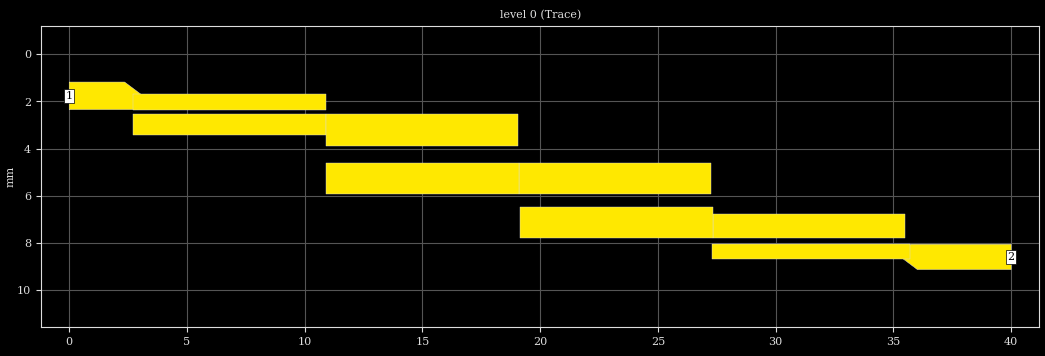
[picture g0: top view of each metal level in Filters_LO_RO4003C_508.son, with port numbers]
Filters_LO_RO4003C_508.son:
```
FTYP SONPROJ 19 ! Sonnet Project File
VER 18.53
HEADER
LIC SL64e88c52
DAT 08/28/2023 10:58:31
BUILT_BY_CREATED example 18.53 10/19/2021 01:59:07
BUILT_BY_SAVED sonnet 18.53-Lite
MDATE 08/27/2023 03:09:16
HDATE 08/27/2023 03:09:16
END HEADER
DIM
ANG DEG
CAP PF
CON /OH
FREQ GHZ
IND NH
LNG MM
RES OH
END DIM
CONTROL
VARSWP
OPTIONS  -dj
SPEED 0
CACHE_ABS 2
Q_ACC N
END CONTROL
GEO
TMET "Cover" 1 NOR 40900000 0.5 0.00254 
BMET "Cover" 1 NOR 40900000 0.5 0.00254 
MET "Gold_trace" 2 NOR 40900000 0.5 0.00254 
MET "Gold_Via" 1 VOL 40900000 0.00254
BOX 1 40 10.366 1600 406 20 0
      3.81 1 1 0 0 0 0 "Air"
      0.508 3.55 1 0.0029 0 0 0 "Rogers RO4003C"
TECHLAY METAL Trace <UNSPECIFIED> -2 -65534 
0 0 0 N 550 1 1 100 100 0 0 0 Y
END
END
TECHLAY VIA Via_Gnd <UNSPECIFIED> -3 -65534 
VIA POLYGON
1 0 1 N 555 1 1 100 100 0 0 0 Y
TOLEVEL 0 RING COVERS
END
END
VALVAR L1 LNG 8.3876712328767 "Dim. Param."
VALVAR L2 LNG "7.95*SCALE" "Dim. Param."
VALVAR W2 LNG 1.3265302315745 "Dim. Param."
VALVAR L1_1 NONE 8.1435045706955 ""
VALVAR SCALE NONE "7.5/7.3" ""
VALVAR L1_2 LNG 8.5435045706955 "Dim. Param. L1_2"
VALVAR W2_3 LNG 0.8707040678001 "Dim. Param. W2_3"
VALVAR W2_4 LNG 1.0139973043984 "Dim. Param. W2_4"
DIM STD YDIR -1
POS 0.8243394633 -1.723114553
NOM 0.661441928
REF1 POLY 433 1
2
REF2 POLY 433 1
1
END
DIM STD YDIR -1
POS 2.248703586 -1.825242212
NOM 0.620364742
REF1 POLY 539 1
2
REF2 POLY 539 1
1
END
DIM STD YDIR -1
POS 2.273710895 -1.054965402
NOM 0.7143295154
REF1 POLY 527 1
0
REF2 POLY 512 1
2
END
DIM STD YDIR -1
POS 1.654538812 -1.379817762
NOM 0.204038262
REF1 POLY 512 1
0
REF2 POLY 433 1
2
END
DIM STD XDIR 1
POS 8.039524846 3.32540924
NOM 16.33561644
REF1 POLY 528 1
3
REF2 POLY 527 1
2
END
LORGN 0 10.366 U 
POR1 BOX
POLY 15 1
3
1 50 0 0 0 0 1.760508198 
POR1 BOX
POLY 17 1
3
2 50 0 0 0 40 8.600456394 
NUM 10
0 7 0 N 15 1 1 100 100 0 0 0 Y
TLAYNAM Trace INH
3.21050739 1.99243004
3.21050739 1.816551101
2.354396701 1.174468085
0 1.174468085
0 2.346548311
2.738349697 2.346548311
3.21050739 1.99243004
END
0 7 0 N 17 1 1 100 100 0 0 0 Y
TLAYNAM Trace INH
35.21505355 8.536576562
35.21505355 8.434976562
35.71437262 8.060487255
40 8.060487255
40 9.140425532
36.0201855 9.140425532
35.21505355 8.536576562
END
0 5 0 N 433 1 1 100 100 0 0 0 Y
TLAYNAM Trace INH
2.7 1.685106383
10.89790127 1.685106383
10.89790127 2.346548311
2.7 2.346548311
2.7 1.685106383
END
0 5 0 N 442 1 1 100 100 0 0 0 Y
TLAYNAM Trace INH
2.724239011 2.550586573
10.89204723 2.550586573
10.89204723 3.421290641
2.724239011 3.421290641
2.724239011 2.550586573
END
0 5 0 N 512 1 1 100 100 0 0 0 Y
TLAYNAM Trace INH
10.89204723 2.550586573
19.05985545 2.550586573
19.05985545 3.877116805
10.89204723 3.877116805
10.89204723 2.550586573
END
0 5 0 N 527 1 1 100 100 0 0 0 Y
TLAYNAM Trace INH
19.08214094 4.59144632
27.24994916 4.59144632
27.24994916 5.917976552
19.08214094 5.917976552
19.08214094 4.59144632
END
0 5 0 N 528 1 1 100 100 0 0 0 Y
TLAYNAM Trace INH
10.91433272 4.59144632
19.08214094 4.59144632
19.08214094 5.917976552
10.91433272 5.917976552
10.91433272 4.59144632
END
0 5 0 N 533 1 1 100 100 0 0 0 Y
TLAYNAM Trace INH
27.3231048 6.791517241
35.49091302 6.791517241
35.49091302 7.805514545
27.3231048 7.805514545
27.3231048 6.791517241
END
0 5 0 N 534 1 1 100 100 0 0 0 Y
TLAYNAM Trace INH
19.15529658 6.478984314
27.3231048 6.478984314
27.3231048 7.805514546
19.15529658 7.805514546
19.15529658 6.478984314
END
0 5 0 N 539 1 1 100 100 0 0 0 Y
TLAYNAM Trace INH
27.30687048 8.060486322
35.69454171 8.060486322
35.69454171 8.680851064
27.30687048 8.680851064
27.30687048 8.060486322
END
END GEO
OPT
MAX 100
END OPT
VARSWP
ENABLED Y
FREQ N AY ABS_ENTRY 5.2 6.0 -1 300 
FREQ N AY ABS_ENTRY 4.0 8.0 -1 300 
FREQ Y AN STEP 5.32
VAR W2 N 1.32653023 1.32653023 UNDEF
VAR SCALE N 1.02739726 1.02739726 UNDEF
VAR L1_2 N 8.14350457 8.14350457 UNDEF
VAR L1 N 8.38767123 8.38767123 UNDEF
VAR W2_3 N 0.97283215 0.97283215 UNDEF
VAR W2_4 N 1.0139973 1.0139973 UNDEF
END
END VARSWP
3DOPTIONS
GLOBAL 1
ALL 2 1
END 3DOPTIONS
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```
